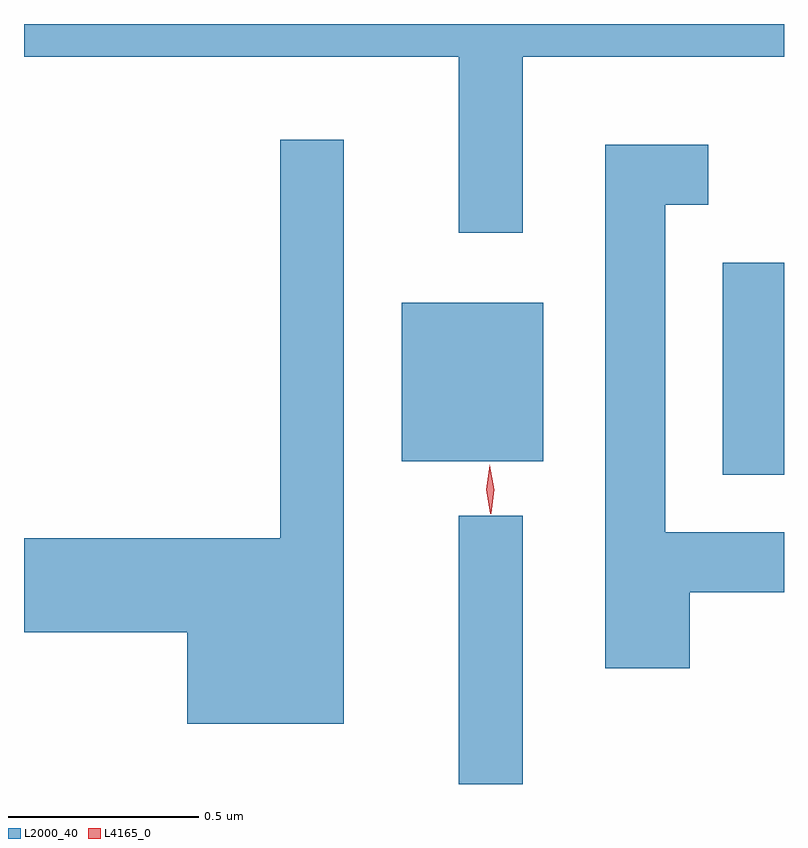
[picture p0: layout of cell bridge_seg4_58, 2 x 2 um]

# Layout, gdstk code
import gdstk
lib = gdstk.Library(unit=1e-6, precision=1e-09)
def R(c, l, rs):  # rectangles x0, y0, x1, y1
    for r in rs: c.add(gdstk.rectangle(r[:2], r[2:], *l))
def P(c, l, *ps):  # polygons
    for p in ps: c.add(gdstk.Polygon(p, *l))
L2000_40 = (2000, 40)
L4165_0 = (4165, 0)

bridge_seg4_58 = lib.new_cell('bridge_seg4_58')
R(bridge_seg4_58, L2000_40, [(1326.011,1359.422,1326.179,1360.128), (1326.706,1360.236,1326.867,1360.794), (1325.861,1360.271,1326.234,1360.689)])
P(bridge_seg4_58, L2000_40, [(1326.179,1361.336),(1326.867,1361.336),(1326.867,1361.422),(1324.867,1361.422),(1324.867,1361.336),(1326.011,1361.336),(1326.011,1360.873),(1326.179,1360.873)],
  [(1325.709,1361.118),(1325.541,1361.118),(1325.541,1360.069),(1324.867,1360.069),(1324.867,1359.821),(1325.296,1359.821),(1325.296,1359.581),(1325.709,1359.581)],
  [(1326.619,1359.926),(1326.867,1359.926),(1326.867,1360.084),(1326.554,1360.084),(1326.554,1360.946),(1326.668,1360.946),(1326.668,1361.104),(1326.396,1361.104),(1326.396,1359.726),(1326.619,1359.726)])
P(bridge_seg4_58, L4165_0, [(1326.094,1360.133),(1326.084,1360.197),(1326.092,1360.261),(1326.093,1360.262),(1326.093,1360.261),(1326.104,1360.197),(1326.096,1360.133),(1326.095,1360.133)])

lib.write_gds('bridge_seg4_58.gds')
